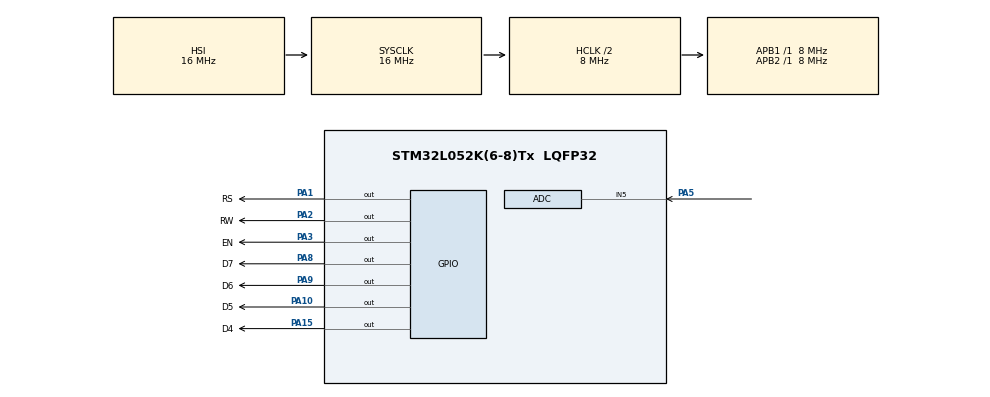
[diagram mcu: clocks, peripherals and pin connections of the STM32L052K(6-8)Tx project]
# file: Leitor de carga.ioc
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ADC.ContinuousConvMode=ENABLE
ADC.DMAContinuousRequests=ENABLE
ADC.SamplingTime=ADC_SAMPLETIME_160CYCLES_5
Dma.ADC.0.Direction=DMA_PERIPH_TO_MEMORY
Dma.ADC.0.Instance=DMA1_Channel1
Dma.ADC.0.MemDataAlignment=DMA_MDATAALIGN_HALFWORD
Dma.ADC.0.MemInc=DMA_MINC_ENABLE
Dma.ADC.0.Mode=DMA_CIRCULAR
Dma.ADC.0.PeriphDataAlignment=DMA_PDATAALIGN_HALFWORD
Dma.ADC.0.PeriphInc=DMA_PINC_DISABLE
Dma.ADC.0.Priority=DMA_PRIORITY_LOW
Dma.Request0=ADC
Mcu.Family=STM32L0
Mcu.Name=STM32L052K(6-8)Tx
Mcu.Package=LQFP32
NVIC.ADC1_COMP_IRQn=true\:0\:0\:false\:false\:true\:true\:true\:true
NVIC.DMA1_Channel1_IRQn=true\:0\:0\:false\:false\:true\:false\:true\:true
PA1.GPIO_Label=RS
PA1.Signal=GPIO_Output
PA10.GPIO_Label=D5
PA10.Signal=GPIO_Output
PA15.GPIO_Label=D4
PA15.Signal=GPIO_Output
PA2.GPIO_Label=RW
PA2.Signal=GPIO_Output
PA3.GPIO_Label=EN
PA3.Signal=GPIO_Output
PA5.Mode=IN5
PA5.Signal=ADC_IN5
PA8.GPIO_Label=D7
PA8.Signal=GPIO_Output
PA9.GPIO_Label=D6
PA9.Signal=GPIO_Output
ProjectManager.HeapSize=0x200
ProjectManager.StackSize=0x400
ProjectManager.TargetToolchain=STM32CubeIDE
RCC.AHBCLKDivider=RCC_SYSCLK_DIV2
RCC.AHBFreq_Value=8000000
RCC.APB1Freq_Value=8000000
RCC.APB1TimFreq_Value=8000000
RCC.APB2Freq_Value=8000000
RCC.APB2TimFreq_Value=8000000
RCC.HCLKFreq_Value=8000000
RCC.HSI16_VALUE=16000000
RCC.HSI48_VALUE=48000000
RCC.HSI_VALUE=16000000
RCC.LSE_VALUE=32768
RCC.MSI_VALUE=2097000
RCC.SYSCLKFreq_VALUE=16000000
RCC.SYSCLKSource=RCC_SYSCLKSOURCE_HSI
RCC.VCOOutputFreq_Value=48000000
board=custom

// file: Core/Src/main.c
/* USER CODE BEGIN Header */
/**
  ******************************************************************************
  * @file           : main.c
  * @brief          : Main program body
  ******************************************************************************
  * @attention
  *
  * Copyright (c) 2025 STMicroelectronics.
  * All rights reserved.
  *
  * This software is licensed under terms that can be found in the LICENSE file
  * in the root directory of this software component.
  * If no LICENSE file comes with this software, it is provided AS-IS.
  *
  ******************************************************************************
  */
/* USER CODE END Header */
#include "main.h"

/* USER CODE BEGIN PTD */
typedef struct{
	unsigned P0: 1,
			 P1: 1,
			 P2: 1,
			 P3: 1,
			 P4: 1,
			 P5: 1,
			 P6: 1,
			 P7: 1;
}BIT;
/* USER CODE END PTD */

/* USER CODE BEGIN PD */
#define INSTRUCTION 0
#define DATA  1
/* USER CODE END PD */

ADC_HandleTypeDef hadc;
DMA_HandleTypeDef hdma_adc;

/* USER CODE BEGIN PV */
BIT PORT;
uint16_t adc_value_set[2], adc_read;
uint8_t locale = 0, bars = 0;
uint16_t compare_value = 0;

unsigned char BATTERY_CHAR[6][8] = {
		{0x1F, 0x10, 0x10, 0x10, 0x10, 0x10, 0x10, 0x1F}, // Battery back off
		{0x1F, 0x10, 0x17, 0x17, 0x17, 0x17, 0x10, 0x1F}, // Battery back ON
		{0x1F, 0x00, 0x00, 0x00, 0x00, 0x00, 0x00, 0x1F}, // Battery middle off
		{0x1F, 0x00, 0x0E, 0x0E, 0x0E, 0x0E, 0x00, 0x1F}, // Battery middle ON
		{0x1E, 0x02, 0x03, 0x01, 0x01, 0x03, 0x02, 0x1E}, // Battery front off
		{0x1E, 0x02, 0x1B, 0x19, 0x19, 0x1B, 0x02, 0x1E}  // Battery front ON
};

/* USER CODE END PV */

void SystemClock_Config(void);
static void MX_GPIO_Init(void);
static void MX_DMA_Init(void);
static void MX_ADC_Init(void);
/* USER CODE BEGIN PFP */

void LCD_STARTUP(void);
void LCD_SEND_MESSAGE(char * message);
void LCD_DATA_MANAGER(uint8_t data, uint8_t state);
void LCD_CREATE_CHAR(uint8_t ADDRS, unsigned char * data, uint8_t select);

uint8_t VERIFY_ADC_VALUE(void);
uint8_t LCD_INTERPRETER_LOCALE(uint8_t row, uint8_t column);

/* USER CODE END PFP */

/* USER CODE BEGIN 0 */
void HAL_ADC_ConvCpltCallback(ADC_HandleTypeDef *hadc){
	adc_read = HAL_ADC_GetValue(hadc);
}

/* USER CODE END 0 */

int main(void)
{

  /* MCU Configuration--------------------------------------------------------*/

  /* Reset of all peripherals, Initializes the Flash interface and the Systick. */
  HAL_Init();

  /* Configure the system clock */
  SystemClock_Config();

  /* Initialize all configured peripherals */
  MX_GPIO_Init();
  MX_DMA_Init();
  MX_ADC_Init();
  /* USER CODE BEGIN 2 */
  HAL_ADC_Start_DMA(&hadc, (uint32_t *) adc_value_set, 2);
  LCD_STARTUP();

  LCD_CREATE_CHAR(0,  (unsigned char*) BATTERY_CHAR , 0);
  LCD_CREATE_CHAR(1,  (unsigned char*) BATTERY_CHAR , 1);
  LCD_CREATE_CHAR(2,  (unsigned char*) BATTERY_CHAR , 2);
  LCD_CREATE_CHAR(3,  (unsigned char*) BATTERY_CHAR , 3);
  LCD_CREATE_CHAR(4,  (unsigned char*) BATTERY_CHAR , 4);
  LCD_CREATE_CHAR(5,  (unsigned char*) BATTERY_CHAR , 5);

  /* USER CODE END 2 */

  /* Infinite loop */
  /* USER CODE BEGIN WHILE */
  while (1) {
	locale = LCD_INTERPRETER_LOCALE(1, 4);
	LCD_DATA_MANAGER(locale, INSTRUCTION);
	LCD_SEND_MESSAGE("LOAD || TESTER");

	bars = VERIFY_ADC_VALUE();

	locale = LCD_INTERPRETER_LOCALE(5, 8);
	LCD_DATA_MANAGER(locale, INSTRUCTION);

	switch (bars){
		case 0:
			LCD_DATA_MANAGER(0x00, DATA);
			LCD_DATA_MANAGER(0x02, DATA);
			LCD_DATA_MANAGER(0x02, DATA);
			LCD_DATA_MANAGER(0x02, DATA);
			LCD_DATA_MANAGER(0x04, DATA);
			break;
		case 1:
			LCD_DATA_MANAGER(0x01, DATA);
			LCD_DATA_MANAGER(0x02, DATA);
			LCD_DATA_MANAGER(0x02, DATA);
			LCD_DATA_MANAGER(0x02, DATA);
			LCD_DATA_MANAGER(0x04, DATA);
			break;
		case 2:
			LCD_DATA_MANAGER(0x01, DATA);
			LCD_DATA_MANAGER(0x03, DATA);
			LCD_DATA_MANAGER(0x02, DATA);
			LCD_DATA_MANAGER(0x02, DATA);
			LCD_DATA_MANAGER(0x04, DATA);
			break;
		case 3:
			LCD_DATA_MANAGER(0x01, DATA);
			LCD_DATA_MANAGER(0x03, DATA);
			LCD_DATA_MANAGER(0x03, DATA);
			LCD_DATA_MANAGER(0x02, DATA);
			LCD_DATA_MANAGER(0x04, DATA);
			break;
		case 4:
			LCD_DATA_MANAGER(0x01, DATA);
			LCD_DATA_MANAGER(0x03, DATA);
			LCD_DATA_MANAGER(0x03, DATA);
			LCD_DATA_MANAGER(0x03, DATA);
			LCD_DATA_MANAGER(0x04, DATA);
			break;
		case 5:
			LCD_DATA_MANAGER(0x01, DATA);
			LCD_DATA_MANAGER(0x03, DATA);
			LCD_DATA_MANAGER(0x03, DATA);
			LCD_DATA_MANAGER(0x03, DATA);
			LCD_DATA_MANAGER(0x05, DATA);
			break;
	}

    /* USER CODE END WHILE */

  }
}

void SystemClock_Config(void)
{
  RCC_OscInitTypeDef RCC_OscInitStruct = {0};
  RCC_ClkInitTypeDef RCC_ClkInitStruct = {0};

  /** Configure the main internal regulator output voltage
  */
  __HAL_PWR_VOLTAGESCALING_CONFIG(PWR_REGULATOR_VOLTAGE_SCALE1);

  /** Initializes the RCC Oscillators according to the specified parameters
  * in the RCC_OscInitTypeDef structure.
  */
  RCC_OscInitStruct.OscillatorType = RCC_OSCILLATORTYPE_HSI;
  RCC_OscInitStruct.HSIState = RCC_HSI_ON;
  RCC_OscInitStruct.HSICalibrationValue = RCC_HSICALIBRATION_DEFAULT;
  RCC_OscInitStruct.PLL.PLLState = RCC_PLL_NONE;
  if (HAL_RCC_OscConfig(&RCC_OscInitStruct) != HAL_OK)
  {
    Error_Handler();
  }

  /** Initializes the CPU, AHB and APB buses clocks
  */
  RCC_ClkInitStruct.ClockType = RCC_CLOCKTYPE_HCLK|RCC_CLOCKTYPE_SYSCLK
                              |RCC_CLOCKTYPE_PCLK1|RCC_CLOCKTYPE_PCLK2;
  RCC_ClkInitStruct.SYSCLKSource = RCC_SYSCLKSOURCE_HSI;
  RCC_ClkInitStruct.AHBCLKDivider = RCC_SYSCLK_DIV2;
  RCC_ClkInitStruct.APB1CLKDivider = RCC_HCLK_DIV1;
  RCC_ClkInitStruct.APB2CLKDivider = RCC_HCLK_DIV1;

  if (HAL_RCC_ClockConfig(&RCC_ClkInitStruct, FLASH_LATENCY_0) != HAL_OK)
  {
    Error_Handler();
  }
}

static void MX_ADC_Init(void)
{

  ADC_ChannelConfTypeDef sConfig = {0};

  /** Configure the global features of the ADC (Clock, Resolution, Data Alignment and number of conversion)
  */
  hadc.Instance = ADC1;
  hadc.Init.OversamplingMode = DISABLE;
  hadc.Init.ClockPrescaler = ADC_CLOCK_SYNC_PCLK_DIV2;
  hadc.Init.Resolution = ADC_RESOLUTION_12B;
  hadc.Init.SamplingTime = ADC_SAMPLETIME_160CYCLES_5;
  hadc.Init.ScanConvMode = ADC_SCAN_DIRECTION_FORWARD;
  hadc.Init.DataAlign = ADC_DATAALIGN_RIGHT;
  hadc.Init.ContinuousConvMode = ENABLE;
  hadc.Init.DiscontinuousConvMode = DISABLE;
  hadc.Init.ExternalTrigConvEdge = ADC_EXTERNALTRIGCONVEDGE_NONE;
  hadc.Init.ExternalTrigConv = ADC_SOFTWARE_START;
  hadc.Init.DMAContinuousRequests = ENABLE;
  hadc.Init.EOCSelection = ADC_EOC_SINGLE_CONV;
  hadc.Init.Overrun = ADC_OVR_DATA_PRESERVED;
  hadc.Init.LowPowerAutoWait = DISABLE;
  hadc.Init.LowPowerFrequencyMode = DISABLE;
  hadc.Init.LowPowerAutoPowerOff = DISABLE;
  if (HAL_ADC_Init(&hadc) != HAL_OK)
  {
    Error_Handler();
  }

  /** Configure for the selected ADC regular channel to be converted.
  */
  sConfig.Channel = ADC_CHANNEL_5;
  sConfig.Rank = ADC_RANK_CHANNEL_NUMBER;
  if (HAL_ADC_ConfigChannel(&hadc, &sConfig) != HAL_OK)
  {
    Error_Handler();
  }

}

static void MX_DMA_Init(void)
{

  /* DMA controller clock enable */
  __HAL_RCC_DMA1_CLK_ENABLE();

  /* DMA interrupt init */
  /* DMA1_Channel1_IRQn interrupt configuration */
  HAL_NVIC_SetPriority(DMA1_Channel1_IRQn, 0, 0);
  HAL_NVIC_EnableIRQ(DMA1_Channel1_IRQn);

}

static void MX_GPIO_Init(void)
{
  GPIO_InitTypeDef GPIO_InitStruct = {0};

  /* GPIO Ports Clock Enable */
  __HAL_RCC_GPIOA_CLK_ENABLE();

  /*Configure GPIO pin Output Level */
  HAL_GPIO_WritePin(GPIOA, RS_Pin|RW_Pin|EN_Pin|D7_Pin
                          |D6_Pin|D5_Pin|D4_Pin, GPIO_PIN_RESET);

  /*Configure GPIO pins : RS_Pin RW_Pin EN_Pin D7_Pin
                           D6_Pin D5_Pin D4_Pin */
  GPIO_InitStruct.Pin = RS_Pin|RW_Pin|EN_Pin|D7_Pin
                          |D6_Pin|D5_Pin|D4_Pin;
  GPIO_InitStruct.Mode = GPIO_MODE_OUTPUT_PP;
  GPIO_InitStruct.Pull = GPIO_NOPULL;
  GPIO_InitStruct.Speed = GPIO_SPEED_FREQ_LOW;
  HAL_GPIO_Init(GPIOA, &GPIO_InitStruct);

}

/* USER CODE BEGIN 4 */
void LCD_STARTUP(void){
	LCD_DATA_MANAGER(0x33, INSTRUCTION);
	LCD_DATA_MANAGER(0x32, INSTRUCTION);

	LCD_DATA_MANAGER(0x28, INSTRUCTION);

	LCD_DATA_MANAGER(0x0C, INSTRUCTION);
	LCD_DATA_MANAGER(0x06, INSTRUCTION);
	LCD_DATA_MANAGER(0x01, INSTRUCTION);

	HAL_Delay(2);
}

void LCD_SEND_MESSAGE(char * message){
	for (int i = 0; message[i] != '\0'; ++i){
		LCD_DATA_MANAGER(message[i], DATA);
	}
}
void LCD_DATA_MANAGER(uint8_t data, uint8_t state){
	PORT.P0 = (data >> 0) & 1;
	PORT.P1 = (data >> 1) & 1;
	PORT.P2 = (data >> 2) & 1;
	PORT.P3 = (data >> 3) & 1;
	PORT.P4 = (data >> 4) & 1;
	PORT.P5 = (data >> 5) & 1;
	PORT.P6 = (data >> 6) & 1;
	PORT.P7 = (data >> 7) & 1;

	HAL_GPIO_WritePin(RS_GPIO_Port, RS_Pin, state);
	HAL_GPIO_WritePin(RW_GPIO_Port, RW_Pin, GPIO_PIN_RESET);

	HAL_GPIO_WritePin(D4_GPIO_Port, D4_Pin, PORT.P4);
	HAL_GPIO_WritePin(D5_GPIO_Port, D5_Pin, PORT.P5);
	HAL_GPIO_WritePin(D6_GPIO_Port, D6_Pin, PORT.P6);
	HAL_GPIO_WritePin(D7_GPIO_Port, D7_Pin, PORT.P7);

	HAL_GPIO_TogglePin(EN_GPIO_Port, EN_Pin);
	HAL_Delay(1);
	HAL_GPIO_TogglePin(EN_GPIO_Port, EN_Pin);
	HAL_Delay(1);

	HAL_GPIO_WritePin(D4_GPIO_Port, D4_Pin, PORT.P0);
	HAL_GPIO_WritePin(D5_GPIO_Port, D5_Pin, PORT.P1);
	HAL_GPIO_WritePin(D6_GPIO_Port, D6_Pin, PORT.P2);
	HAL_GPIO_WritePin(D7_GPIO_Port, D7_Pin, PORT.P3);

	HAL_GPIO_TogglePin(EN_GPIO_Port, EN_Pin);
	HAL_Delay(1);
	HAL_GPIO_TogglePin(EN_GPIO_Port, EN_Pin);
	HAL_Delay(1);
}

void LCD_CREATE_CHAR(uint8_t ADDRS, unsigned char* data, uint8_t select){
	switch (ADDRS){
		case 0: LCD_DATA_MANAGER(0x40 + 0,  INSTRUCTION); break;
		case 1: LCD_DATA_MANAGER(0x40 + 8,  INSTRUCTION); break;
		case 2: LCD_DATA_MANAGER(0x40 + 16, INSTRUCTION); break;
		case 3: LCD_DATA_MANAGER(0x40 + 24, INSTRUCTION); break;
		case 4: LCD_DATA_MANAGER(0x40 + 32, INSTRUCTION); break;
		case 5: LCD_DATA_MANAGER(0x40 + 40, INSTRUCTION); break;
		case 6: LCD_DATA_MANAGER(0x40 + 48, INSTRUCTION); break;
		case 7: LCD_DATA_MANAGER(0x40 + 56, INSTRUCTION); break;
	}

	for (int i = 0; i < 8; ++i) LCD_DATA_MANAGER(BATTERY_CHAR[select][i], DATA);
}

uint8_t LCD_INTERPRETER_LOCALE(uint8_t row, uint8_t column){
	if ((row == 1) && (column <= 13)){
		switch (column){
			case 1: column = 0x80; break;
			case 2: column = 0x81; break;
			case 3: column = 0x82; break;
			case 4: column = 0x83; break;
			case 5: column = 0x84; break;
			case 6: column = 0x85; break;
			case 7: column = 0x86; break;
			case 8: column = 0x87; break;
			case 9: column = 0x88; break;
			case 10: column = 0x89; break;
			case 11: column = 0x8A; break;
			case 12: column = 0x8B; break;
			case 13: column = 0x8C; break;
			case 14: column = 0x8D; break;
			case 15: column = 0x8E; break;
			case 16: column = 0x8F; break;
			case 17: column = 0x90; break;
			case 18: column = 0x91; break;
			case 19: column = 0x92; break;
			case 20: column = 0x93; break;
		}
	}

	else if ((row == 2) && (column <= 13)){
		switch (column){
			case 1: column = 0xC0; break;
			case 2: column = 0xC1; break;
			case 3: column = 0xC2; break;
			case 4: column = 0xC3; break;
			case 5: column = 0xC4; break;
			case 6: column = 0xC5; break;
			case 7: column = 0xC6; break;
			case 8: column = 0xC7; break;
			case 9: column = 0xC8; break;
			case 10: column = 0xC9; break;
			case 11: column = 0xCA; break;
			case 12: column = 0xCB; break;
			case 13: column = 0xCC; break;
			case 14: column = 0xCD; break;
			case 15: column = 0xCE; break;
			case 16: column = 0xCF; break;
			case 17: column = 0xD0; break;
			case 18: column = 0xD1; break;
			case 19: column = 0xD2; break;
			case 20: column = 0xD3; break;
		}
	}

	else if ((row == 3) && (column <= 13)){
		switch (column){
			case 1: column = 0x94; break;
			case 2: column = 0x95; break;
			case 3: column = 0x96; break;
			case 4: column = 0x97; break;
			case 5: column = 0x98; break;
			case 6: column = 0x99; break;
			case 7: column = 0x9A; break;
			case 8: column = 0x9B; break;
			case 9: column = 0x9C; break;
			case 10: column = 0x9D; break;
			case 11: column = 0x9E; break;
			case 12: column = 0x9F; break;
			case 13: column = 0xA0; break;
			case 14: column = 0xA1; break;
			case 15: column = 0xA2; break;
			case 16: column = 0xA3; break;
			case 17: column = 0xA4; break;
			case 18: column = 0xA5; break;
			case 19: column = 0xA6; break;
			case 20: column = 0xA7; break;
		}
	}

	else if ((row == 4) && (column <= 13)){
		switch (column){
			case 1: column = 0xD4; break;
			case 2: column = 0xD5; break;
			case 3: column = 0xD6; break;
			case 4: column = 0xD7; break;
			case 5: column = 0xD8; break;
			case 6: column = 0xD9; break;
			case 7: column = 0xDA; break;
			case 8: column = 0xDB; break;
			case 9: column = 0xDC; break;
			case 10: column = 0xDD; break;
			case 11: column = 0xDE; break;
			case 12: column = 0xDF; break;
			case 13: column = 0xE0; break;
			case 14: column = 0xE1; break;
			case 15: column = 0xE2; break;
			case 16: column = 0xE3; break;
			case 17: column = 0xE4; break;
			case 18: column = 0xE5; break;
			case 19: column = 0xE6; break;
			case 20: column = 0xE7; break;
		}
	}

	return column;
}

uint8_t VERIFY_ADC_VALUE(void){
	uint8_t value;
	uint16_t fundamental = 819;

	if (adc_read < 70) compare_value = 0;
	else if(adc_read > 70 && adc_read <= fundamental * 2) compare_value = fundamental;
	else if(adc_read >= fundamental * 2 && adc_read < fundamental * 3) compare_value = fundamental * 2;
	else if(adc_read >= fundamental * 3 && adc_read < fundamental * 4) compare_value = fundamental * 3;
	else if(adc_read >= fundamental * 4 && adc_read < fundamental * 5) compare_value = fundamental * 4;
	else if(adc_read == fundamental * 5) compare_value = 819 * 5;

	for (int i = 1; i < 6; ++i){
		if (fundamental * i == compare_value){
			value = i;
			break;
		}
	}
	return value;
}
/* USER CODE END 4 */

void Error_Handler(void)
{
  __disable_irq();
  while (1)
  {
  }
}
